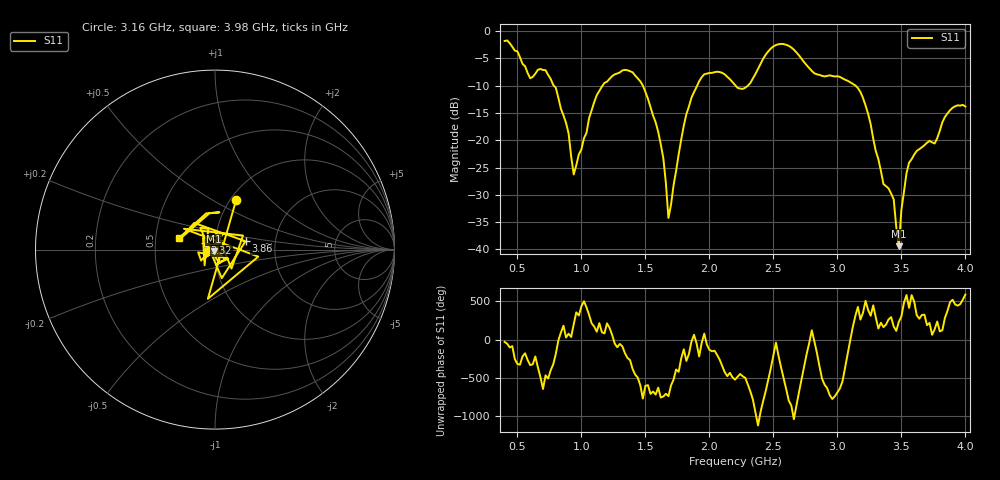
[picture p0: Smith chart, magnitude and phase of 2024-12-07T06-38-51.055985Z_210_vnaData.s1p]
!Created with skrf (http://scikit-rf.org).
# Hz S RI R 50.0
!freq ReS11 ImS11
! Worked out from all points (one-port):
!   181 points, 400 MHz to 4 GHz, reference 50 ohm
!   lowest |S11| = -39.4 dB at 3.48 GHz (marker M1), VSWR 1.02, Z = 49.3 - j0.841 ohm
!   |S11| at or under -10 dB: 785.5 MHz to 1.165 GHz (379.2 MHz wide, 38.9 % of centre); 1.481 GHz to 1.904 GHz (423.7 MHz wide, 25 % of centre); 3.142 GHz to end of sweep (the widest 3 of 4)
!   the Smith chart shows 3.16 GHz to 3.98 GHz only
!   S11 on the Smith chart (normalised r, x): 3.16 GHz: 1.06, +0.65; 3.32 GHz: 0.89, +0.07; 3.86 GHz: 1.40, +0.13; 3.98 GHz: 0.66, +0.09
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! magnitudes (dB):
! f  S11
! 400 MHz  -1.8
! 600 MHz  -8.6
! 720 MHz  -7.2
! 860 MHz  -15.4
! 940 MHz  -26.3
! 1.12 GHz  -11.7
! 1.3 GHz  -7.6
! 1.52 GHz  -12.4
! 1.64 GHz  -23.3
! 1.68 GHz  -34.3
! 1.76 GHz  -22.6
! 1.82 GHz  -15.2
! 1.94 GHz  -8.4
! 2.2 GHz  -9.9
! 2.3 GHz  -10.0
! 2.5 GHz  -2.8
! 2.66 GHz  -3.4
! 3.1 GHz  -9.4
! 3.16 GHz  -10.4
! 3.32 GHz  -23.5
! 3.44 GHz  -30.8
! 3.48 GHz  -39.4
! 3.5 GHz  -32.7
! 3.56 GHz  -24.1
! 3.76 GHz  -20.6
! 3.86 GHz  -15.1
! 3.98 GHz  -13.5
! 4 GHz  -13.8
